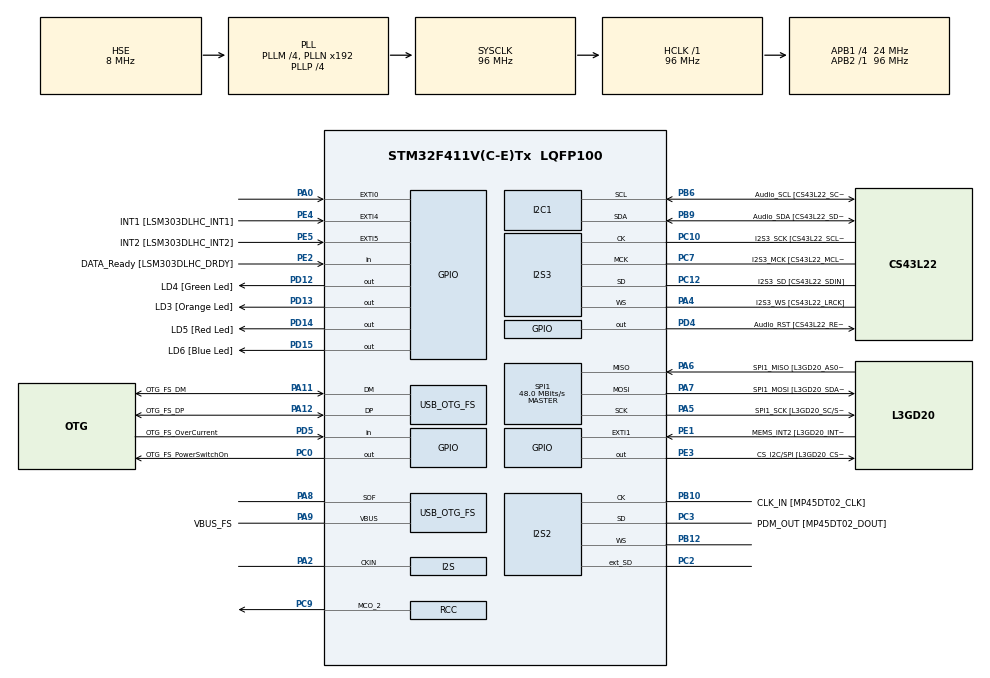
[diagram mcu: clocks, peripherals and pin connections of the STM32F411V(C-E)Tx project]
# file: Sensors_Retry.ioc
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I2S2.AudioFreq=I2S_AUDIOFREQ_96K
I2S2.ErrorAudioFreq=0.15 %
I2S2.FullDuplexMode=I2S_FULLDUPLEXMODE_ENABLE
I2S2.Instance=SPI$Index
I2S2.RealAudioFreq=96.153 KHz
I2S2.VirtualMode=I2S_MODE_MASTER
I2S3.AudioFreq=I2S_AUDIOFREQ_96K
I2S3.ErrorAudioFreq=-6.99 %
I2S3.FullDuplexMode=I2S_FULLDUPLEXMODE_DISABLE
I2S3.Instance=SPI$Index
I2S3.RealAudioFreq=89.285 KHz
I2S3.VirtualMode=I2S_MODE_MASTER
Mcu.Family=STM32F4
Mcu.Name=STM32F411V(C-E)Tx
Mcu.Package=LQFP100
NVIC.OTG_FS_IRQn=true\:0\:0\:false\:false\:true\:true\:true
NVIC.PriorityGroup=NVIC_PRIORITYGROUP_0
PA0-WKUP.GPIO_ModeDefaultEXTI=GPIO_MODE_EVT_RISING
PA0-WKUP.Signal=GPXTI0
PA10.GPIO_Label=OTG_FS_ID
PA10.Signal=USB_OTG_FS_ID
PA11.GPIO_Label=OTG_FS_DM
PA11.Mode=Device_Only
PA11.Signal=USB_OTG_FS_DM
PA12.GPIO_Label=OTG_FS_DP
PA12.Mode=Device_Only
PA12.Signal=USB_OTG_FS_DP
PA13.GPIO_Label=SWDIO
PA13.Mode=Serial_Wire
PA13.Signal=SYS_JTMS-SWDIO
PA14.GPIO_Label=SWCLK
PA14.Mode=Serial_Wire
PA14.Signal=SYS_JTCK-SWCLK
PA2.Mode=Audio_ClockIn
PA2.Signal=I2S_CKIN
PA4.GPIO_Label=I2S3_WS [CS43L22_LRCK]
PA4.GPIO_Mode=GPIO_MODE_AF_PP
PA4.GPIO_PuPd=GPIO_NOPULL
PA4.GPIO_Speed=GPIO_SPEED_FREQ_LOW
PA4.Mode=Half_Duplex_Master
PA4.Signal=I2S3_WS
PA5.GPIO_Label=SPI1_SCK [L3GD20_SC/SPC]
PA5.Mode=Full_Duplex_Master
PA5.Signal=SPI1_SCK
PA6.GPIO_Label=SPI1_MISO [L3GD20_AS0/SDO]
PA6.Mode=Full_Duplex_Master
PA6.Signal=SPI1_MISO
PA7.GPIO_Label=SPI1_MOSI [L3GD20_SDA/SDI/SDO]
PA7.Mode=Full_Duplex_Master
PA7.Signal=SPI1_MOSI
PA8.Mode=Activate_SOF_FS
PA8.Signal=USB_OTG_FS_SOF
PA9.GPIO_Label=VBUS_FS
PA9.Mode=Activate_VBUS
PA9.Signal=USB_OTG_FS_VBUS
PB10.GPIO_Label=CLK_IN [MP45DT02_CLK]
PB10.Mode=Full_Duplex_Master
PB10.Signal=I2S2_CK
PB12.Mode=Full_Duplex_Master
PB12.Signal=I2S2_WS
PB3.GPIO_Label=SWO
PB3.Signal=SYS_JTDO-SWO
PB6.GPIO_Label=Audio_SCL [CS43L22_SCL]
PB6.GPIO_Mode=GPIO_MODE_AF_OD
PB6.GPIO_PuPd=GPIO_NOPULL
PB6.GPIO_Speed=GPIO_SPEED_FREQ_LOW
PB6.Mode=I2C
PB6.Signal=I2C1_SCL
PB9.GPIO_Label=Audio_SDA [CS43L22_SDA]
PB9.GPIO_Mode=GPIO_MODE_AF_OD
PB9.GPIO_PuPd=GPIO_NOPULL
PB9.GPIO_Speed=GPIO_SPEED_FREQ_LOW
PB9.Mode=I2C
PB9.Signal=I2C1_SDA
PC0.GPIO_Label=OTG_FS_PowerSwitchOn
PC0.PinState=GPIO_PIN_SET
PC0.Signal=GPIO_Output
PC10.GPIO_Label=I2S3_SCK [CS43L22_SCLK]
PC10.GPIO_Mode=GPIO_MODE_AF_PP
PC10.GPIO_PuPd=GPIO_NOPULL
PC10.GPIO_Speed=GPIO_SPEED_FREQ_LOW
PC10.Mode=Half_Duplex_Master
PC10.Signal=I2S3_CK
PC12.GPIO_Label=I2S3_SD [CS43L22_SDIN]
PC12.GPIO_Mode=GPIO_MODE_AF_PP
PC12.GPIO_PuPd=GPIO_NOPULL
PC12.GPIO_Speed=GPIO_SPEED_FREQ_LOW
PC12.Mode=Half_Duplex_Master
PC12.Signal=I2S3_SD
PC14-OSC32_IN.GPIO_Label=PC14-OSC32_IN
PC14-OSC32_IN.Mode=LSE-External-Oscillator
PC14-OSC32_IN.Signal=RCC_OSC32_IN
PC15-OSC32_OUT.GPIO_Label=PC15-OSC32_OUT
PC15-OSC32_OUT.Mode=LSE-External-Oscillator
PC15-OSC32_OUT.Signal=RCC_OSC32_OUT
PC2.Mode=Full_Duplex_Master
PC2.Signal=I2S2_ext_SD
PC3.GPIO_Label=PDM_OUT [MP45DT02_DOUT]
PC3.Mode=Full_Duplex_Master
PC3.Signal=I2S2_SD
PC7.GPIO_Label=I2S3_MCK [CS43L22_MCLK]
PC7.GPIO_Mode=GPIO_MODE_AF_PP
PC7.GPIO_PuPd=GPIO_NOPULL
PC7.GPIO_Speed=GPIO_SPEED_FREQ_LOW
PC7.Mode=Master_Clock_Activated
PC7.Signal=I2S3_MCK
PC9.Mode=Clock-out-2
PC9.Signal=RCC_MCO_2
PD12.GPIO_Label=LD4 [Green Led]
PD12.GPIO_PuPd=GPIO_NOPULL
PD12.GPIO_Speed=GPIO_SPEED_FREQ_LOW
PD12.Signal=GPIO_Output
PD13.GPIO_Label=LD3 [Orange Led]
PD13.GPIO_PuPd=GPIO_NOPULL
PD13.GPIO_Speed=GPIO_SPEED_FREQ_LOW
PD13.Signal=GPIO_Output
PD14.GPIO_Label=LD5 [Red Led]
PD14.GPIO_PuPd=GPIO_NOPULL
PD14.GPIO_Speed=GPIO_SPEED_FREQ_LOW
PD14.Signal=GPIO_Output
PD15.GPIO_Label=LD6 [Blue Led]
PD15.GPIO_PuPd=GPIO_NOPULL
PD15.GPIO_Speed=GPIO_SPEED_FREQ_LOW
PD15.Signal=GPIO_Output
PD4.GPIO_Label=Audio_RST [CS43L22_RESET]
PD4.Signal=GPIO_Output
PD5.GPIO_Label=OTG_FS_OverCurrent
PD5.Signal=GPIO_Input
PE1.GPIO_Label=MEMS_INT2 [L3GD20_INT2]
PE1.GPIO_ModeDefaultEXTI=GPIO_MODE_EVT_RISING
PE1.Signal=GPXTI1
PE2.GPIO_Label=DATA_Ready [LSM303DLHC_DRDY]
PE2.Signal=GPIO_Input
PE3.GPIO_Label=CS_I2C/SPI [L3GD20_CS_I2C/SPI]
PE3.Signal=GPIO_Output
PE4.GPIO_Label=INT1 [LSM303DLHC_INT1]
PE4.GPIO_ModeDefaultEXTI=GPIO_MODE_EVT_RISING
PE4.Signal=GPXTI4
PE5.GPIO_Label=INT2 [LSM303DLHC_INT2]
PE5.GPIO_ModeDefaultEXTI=GPIO_MODE_EVT_RISING
PE5.Signal=GPXTI5
PH0\ -\ OSC_IN.GPIO_Label=PH0-OSC_IN
PH0\ -\ OSC_IN.Mode=HSE-External-Oscillator
PH0\ -\ OSC_IN.Signal=RCC_OSC_IN
PH1\ -\ OSC_OUT.GPIO_Label=PH1-OSC_OUT
PH1\ -\ OSC_OUT.Mode=HSE-External-Oscillator
PH1\ -\ OSC_OUT.Signal=RCC_OSC_OUT
ProjectManager.HeapSize=0x200
ProjectManager.StackSize=0x400
ProjectManager.TargetToolchain=STM32CubeIDE
RCC.48MHZClocksFreq_Value=48000000
RCC.AHBFreq_Value=96000000
RCC.APB1CLKDivider=RCC_HCLK_DIV4
RCC.APB1Freq_Value=24000000
RCC.APB1TimFreq_Value=48000000
RCC.APB2Freq_Value=96000000
RCC.APB2TimFreq_Value=96000000
RCC.CortexFreq_Value=96000000
RCC.HCLKFreq_Value=96000000
RCC.HSE_VALUE=8000000
RCC.HSI_VALUE=16000000
RCC.PLLI2SM=5
RCC.PLLI2SN=200
RCC.PLLM=4
RCC.PLLP=RCC_PLLP_DIV4
RCC.PLLQ=8
RCC.SYSCLKFreq_VALUE=96000000
RCC.SYSCLKSource=RCC_SYSCLKSOURCE_PLLCLK
RCC.VCOOutputFreq_Value=384000000
SPI1.BaudRatePrescaler=SPI_BAUDRATEPRESCALER_2
SPI1.CalculateBaudRate=48.0 MBits/s
SPI1.Direction=SPI_DIRECTION_2LINES
SPI1.Mode=SPI_MODE_MASTER
SPI1.VirtualType=VM_MASTER
USB_DEVICE.CLASS_NAME_FS=CDC
USB_DEVICE.VirtualMode=Cdc
USB_DEVICE.VirtualModeFS=Cdc_FS
USB_OTG_FS.VirtualMode=Device_Only
VP_USB_DEVICE_VS_USB_DEVICE_CDC_FS.Mode=CDC_FS
board=STM32F411E-DISCO

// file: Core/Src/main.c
/* USER CODE BEGIN Header */
/**
  ******************************************************************************
  * @file           : main.c
  * @brief          : Main program body
  ******************************************************************************
  * @attention
  *
  * <h2><center>&copy; Copyright (c) 2021 STMicroelectronics.
  * All rights reserved.</center></h2>
  *
  * This software component is licensed by ST under Ultimate Liberty license
  * SLA0044, the "License"; You may not use this file except in compliance with
  * the License. You may obtain a copy of the License at:
  *                             www.st.com/SLA0044
  *
  ******************************************************************************
  */
/* USER CODE END Header */
#include "main.h"
#include <stdio.h>
#include "usb_device.h"
#include <stdlib.h>
#include <math.h>
/* USER CODE BEGIN Includes */
#include "../../BSP/STM32F411E-Discovery/stm32f411e_discovery_gyroscope.h"
/* USER CODE END Includes */

I2C_HandleTypeDef hi2c1;

I2S_HandleTypeDef hi2s2;
I2S_HandleTypeDef hi2s3;

SPI_HandleTypeDef hspi1;

void SystemClock_Config(void);
static void MX_GPIO_Init(void);
static void MX_I2C1_Init(void);
static void MX_I2S2_Init(void);
static void MX_I2S3_Init(void);
static void MX_SPI1_Init(void);

int main(void)
{

  /* MCU Configuration--------------------------------------------------------*/

  /* Reset of all peripherals, Initializes the Flash interface and the Systick. */
  HAL_Init();

  /* Configure the system clock */
  SystemClock_Config();

  /* Initialize all configured peripherals */
  MX_GPIO_Init();
  MX_I2C1_Init();
  MX_I2S2_Init();
  MX_I2S3_Init();
  MX_SPI1_Init();
  MX_USB_DEVICE_Init();

  /* Infinite loop */
  /* USER CODE BEGIN WHILE */

  int16_t xyz[3];
  float xyz2[] = {1.0, 1.0, 1.0};
  char xyz_accelero[100];
  char xyz_gyro[100];
  char str_vector_accelero[100];
  char str_vector_gyro[100];
  char str_max_vector_accelero[100];
  char str_max_vector_gyro[100];
  float vector_accelero;
  float vector_gyro;
  BSP_ACCELERO_Init();
  BSP_GYRO_Init();

  float max_vector_accelero = 0.0;
  float max_vector_gyro = 0.0;

  while (1)
  {
    /* USER CODE END WHILE */
	BSP_ACCELERO_GetXYZ(xyz);
	BSP_GYRO_GetXYZ(xyz2);

	vector_accelero = sqrt(xyz[0]/100*xyz[0]/100+xyz[1]/100*xyz[1]/100+xyz[2]/100*xyz[2]/100);
	vector_gyro = sqrt(xyz2[0]/1000*xyz2[0]/1000+xyz2[1]/1000*xyz2[1]/1000+xyz2[2]/1000*xyz2[2]/1000);

	if(vector_accelero > max_vector_accelero) {
		max_vector_accelero = vector_accelero;
	}
	if(vector_gyro > max_vector_gyro) {
		max_vector_gyro = vector_gyro;
	}

	sprintf(xyz_accelero, "Accelerometer: %i.%02i %i.%02i %i.%02i\n", (xyz[0])/100, abs(xyz[0]-((xyz[0])/100)*100), (xyz[1])/100, abs(xyz[1]-((xyz[1])/100)*100), (xyz[2])/100, abs(xyz[2]-((xyz[2])/100)*100));
	sprintf(xyz_gyro, "Gyroscope: %f %f %f \n", xyz2[0]/1000, xyz2[1]/1000, xyz2[2]/1000);
	sprintf(str_vector_accelero, "Accelerometer Vector: |%f|\n", vector_accelero);
	sprintf(str_vector_gyro, "Gyro Vector: |%f|\n", vector_gyro);
	sprintf(str_max_vector_accelero, "Maximum Accelerometer Vector: |%f|\n\n", max_vector_accelero);
	sprintf(str_max_vector_gyro, "Maximum Gyro Vector: |%f|\n\n", max_vector_gyro);
	CDC_Transmit_FS((uint8_t*)xyz_accelero, (uint16_t)strlen(xyz_accelero));
	HAL_Delay(100);
	CDC_Transmit_FS((uint8_t*)str_vector_accelero, (uint16_t)strlen(str_vector_accelero));
	HAL_Delay(100);
	CDC_Transmit_FS((uint8_t*)str_max_vector_accelero, (uint16_t)strlen(str_max_vector_accelero));
	HAL_Delay(100);
	CDC_Transmit_FS((uint8_t*)xyz_gyro, (uint16_t)strlen(xyz_gyro));
	HAL_Delay(100);
	CDC_Transmit_FS((uint8_t*)str_vector_gyro, (uint16_t)strlen(str_vector_gyro));
	HAL_Delay(100);
	CDC_Transmit_FS((uint8_t*)str_max_vector_gyro, (uint16_t)strlen(str_max_vector_gyro));
	HAL_Delay(200);

  }
}

void SystemClock_Config(void)
{
  RCC_OscInitTypeDef RCC_OscInitStruct = {0};
  RCC_ClkInitTypeDef RCC_ClkInitStruct = {0};
  RCC_PeriphCLKInitTypeDef PeriphClkInitStruct = {0};

  /** Configure the main internal regulator output voltage
  */
  __HAL_RCC_PWR_CLK_ENABLE();
  __HAL_PWR_VOLTAGESCALING_CONFIG(PWR_REGULATOR_VOLTAGE_SCALE1);
  /** Initializes the RCC Oscillators according to the specified parameters
  * in the RCC_OscInitTypeDef structure.
  */
  RCC_OscInitStruct.OscillatorType = RCC_OSCILLATORTYPE_HSE;
  RCC_OscInitStruct.HSEState = RCC_HSE_ON;
  RCC_OscInitStruct.PLL.PLLState = RCC_PLL_ON;
  RCC_OscInitStruct.PLL.PLLSource = RCC_PLLSOURCE_HSE;
  RCC_OscInitStruct.PLL.PLLM = 4;
  RCC_OscInitStruct.PLL.PLLN = 192;
  RCC_OscInitStruct.PLL.PLLP = RCC_PLLP_DIV4;
  RCC_OscInitStruct.PLL.PLLQ = 8;
  if (HAL_RCC_OscConfig(&RCC_OscInitStruct) != HAL_OK)
  {
    Error_Handler();
  }
  /** Initializes the CPU, AHB and APB buses clocks
  */
  RCC_ClkInitStruct.ClockType = RCC_CLOCKTYPE_HCLK|RCC_CLOCKTYPE_SYSCLK
                              |RCC_CLOCKTYPE_PCLK1|RCC_CLOCKTYPE_PCLK2;
  RCC_ClkInitStruct.SYSCLKSource = RCC_SYSCLKSOURCE_PLLCLK;
  RCC_ClkInitStruct.AHBCLKDivider = RCC_SYSCLK_DIV1;
  RCC_ClkInitStruct.APB1CLKDivider = RCC_HCLK_DIV4;
  RCC_ClkInitStruct.APB2CLKDivider = RCC_HCLK_DIV1;

  if (HAL_RCC_ClockConfig(&RCC_ClkInitStruct, FLASH_LATENCY_3) != HAL_OK)
  {
    Error_Handler();
  }
  PeriphClkInitStruct.PeriphClockSelection = RCC_PERIPHCLK_I2S;
  PeriphClkInitStruct.PLLI2S.PLLI2SN = 200;
  PeriphClkInitStruct.PLLI2S.PLLI2SM = 5;
  PeriphClkInitStruct.PLLI2S.PLLI2SR = 2;
  if (HAL_RCCEx_PeriphCLKConfig(&PeriphClkInitStruct) != HAL_OK)
  {
    Error_Handler();
  }
  HAL_RCC_MCOConfig(RCC_MCO2, RCC_MCO2SOURCE_SYSCLK, RCC_MCODIV_1);
}

static void MX_I2C1_Init(void)
{

  hi2c1.Instance = I2C1;
  hi2c1.Init.ClockSpeed = 100000;
  hi2c1.Init.DutyCycle = I2C_DUTYCYCLE_2;
  hi2c1.Init.OwnAddress1 = 0;
  hi2c1.Init.AddressingMode = I2C_ADDRESSINGMODE_7BIT;
  hi2c1.Init.DualAddressMode = I2C_DUALADDRESS_DISABLE;
  hi2c1.Init.OwnAddress2 = 0;
  hi2c1.Init.GeneralCallMode = I2C_GENERALCALL_DISABLE;
  hi2c1.Init.NoStretchMode = I2C_NOSTRETCH_DISABLE;
  if (HAL_I2C_Init(&hi2c1) != HAL_OK)
  {
    Error_Handler();
  }

}

static void MX_I2S2_Init(void)
{

  hi2s2.Instance = SPI2;
  hi2s2.Init.Mode = I2S_MODE_MASTER_TX;
  hi2s2.Init.Standard = I2S_STANDARD_PHILIPS;
  hi2s2.Init.DataFormat = I2S_DATAFORMAT_16B;
  hi2s2.Init.MCLKOutput = I2S_MCLKOUTPUT_DISABLE;
  hi2s2.Init.AudioFreq = I2S_AUDIOFREQ_96K;
  hi2s2.Init.CPOL = I2S_CPOL_LOW;
  hi2s2.Init.ClockSource = I2S_CLOCK_PLL;
  hi2s2.Init.FullDuplexMode = I2S_FULLDUPLEXMODE_ENABLE;
  if (HAL_I2S_Init(&hi2s2) != HAL_OK)
  {
    Error_Handler();
  }

}

static void MX_I2S3_Init(void)
{

  hi2s3.Instance = SPI3;
  hi2s3.Init.Mode = I2S_MODE_MASTER_TX;
  hi2s3.Init.Standard = I2S_STANDARD_PHILIPS;
  hi2s3.Init.DataFormat = I2S_DATAFORMAT_16B;
  hi2s3.Init.MCLKOutput = I2S_MCLKOUTPUT_ENABLE;
  hi2s3.Init.AudioFreq = I2S_AUDIOFREQ_96K;
  hi2s3.Init.CPOL = I2S_CPOL_LOW;
  hi2s3.Init.ClockSource = I2S_CLOCK_PLL;
  hi2s3.Init.FullDuplexMode = I2S_FULLDUPLEXMODE_DISABLE;
  if (HAL_I2S_Init(&hi2s3) != HAL_OK)
  {
    Error_Handler();
  }

}

static void MX_SPI1_Init(void)
{

  /* SPI1 parameter configuration*/
  hspi1.Instance = SPI1;
  hspi1.Init.Mode = SPI_MODE_MASTER;
  hspi1.Init.Direction = SPI_DIRECTION_2LINES;
  hspi1.Init.DataSize = SPI_DATASIZE_8BIT;
  hspi1.Init.CLKPolarity = SPI_POLARITY_LOW;
  hspi1.Init.CLKPhase = SPI_PHASE_1EDGE;
  hspi1.Init.NSS = SPI_NSS_SOFT;
  hspi1.Init.BaudRatePrescaler = SPI_BAUDRATEPRESCALER_2;
  hspi1.Init.FirstBit = SPI_FIRSTBIT_MSB;
  hspi1.Init.TIMode = SPI_TIMODE_DISABLE;
  hspi1.Init.CRCCalculation = SPI_CRCCALCULATION_DISABLE;
  hspi1.Init.CRCPolynomial = 10;
  if (HAL_SPI_Init(&hspi1) != HAL_OK)
  {
    Error_Handler();
  }

}

static void MX_GPIO_Init(void)
{
  GPIO_InitTypeDef GPIO_InitStruct = {0};

  /* GPIO Ports Clock Enable */
  __HAL_RCC_GPIOE_CLK_ENABLE();
  __HAL_RCC_GPIOC_CLK_ENABLE();
  __HAL_RCC_GPIOH_CLK_ENABLE();
  __HAL_RCC_GPIOA_CLK_ENABLE();
  __HAL_RCC_GPIOB_CLK_ENABLE();
  __HAL_RCC_GPIOD_CLK_ENABLE();

  /*Configure GPIO pin Output Level */
  HAL_GPIO_WritePin(CS_I2C_SPI_GPIO_Port, CS_I2C_SPI_Pin, GPIO_PIN_RESET);

  /*Configure GPIO pin Output Level */
  HAL_GPIO_WritePin(OTG_FS_PowerSwitchOn_GPIO_Port, OTG_FS_PowerSwitchOn_Pin, GPIO_PIN_SET);

  /*Configure GPIO pin Output Level */
  HAL_GPIO_WritePin(GPIOD, LD4_Pin|LD3_Pin|LD5_Pin|LD6_Pin
                          |Audio_RST_Pin, GPIO_PIN_RESET);

  /*Configure GPIO pin : DATA_Ready_Pin */
  GPIO_InitStruct.Pin = DATA_Ready_Pin;
  GPIO_InitStruct.Mode = GPIO_MODE_INPUT;
  GPIO_InitStruct.Pull = GPIO_NOPULL;
  HAL_GPIO_Init(DATA_Ready_GPIO_Port, &GPIO_InitStruct);

  /*Configure GPIO pin : CS_I2C_SPI_Pin */
  GPIO_InitStruct.Pin = CS_I2C_SPI_Pin;
  GPIO_InitStruct.Mode = GPIO_MODE_OUTPUT_PP;
  GPIO_InitStruct.Pull = GPIO_NOPULL;
  GPIO_InitStruct.Speed = GPIO_SPEED_FREQ_LOW;
  HAL_GPIO_Init(CS_I2C_SPI_GPIO_Port, &GPIO_InitStruct);

  /*Configure GPIO pins : INT1_Pin INT2_Pin MEMS_INT2_Pin */
  GPIO_InitStruct.Pin = INT1_Pin|INT2_Pin|MEMS_INT2_Pin;
  GPIO_InitStruct.Mode = GPIO_MODE_EVT_RISING;
  GPIO_InitStruct.Pull = GPIO_NOPULL;
  HAL_GPIO_Init(GPIOE, &GPIO_InitStruct);

  /*Configure GPIO pin : OTG_FS_PowerSwitchOn_Pin */
  GPIO_InitStruct.Pin = OTG_FS_PowerSwitchOn_Pin;
  GPIO_InitStruct.Mode = GPIO_MODE_OUTPUT_PP;
  GPIO_InitStruct.Pull = GPIO_NOPULL;
  GPIO_InitStruct.Speed = GPIO_SPEED_FREQ_LOW;
  HAL_GPIO_Init(OTG_FS_PowerSwitchOn_GPIO_Port, &GPIO_InitStruct);

  /*Configure GPIO pin : PA0 */
  GPIO_InitStruct.Pin = GPIO_PIN_0;
  GPIO_InitStruct.Mode = GPIO_MODE_EVT_RISING;
  GPIO_InitStruct.Pull = GPIO_NOPULL;
  HAL_GPIO_Init(GPIOA, &GPIO_InitStruct);

  /*Configure GPIO pin : PA2 */
  GPIO_InitStruct.Pin = GPIO_PIN_2;
  GPIO_InitStruct.Mode = GPIO_MODE_AF_PP;
  GPIO_InitStruct.Pull = GPIO_NOPULL;
  GPIO_InitStruct.Speed = GPIO_SPEED_FREQ_LOW;
  GPIO_InitStruct.Alternate = GPIO_AF5_SPI1;
  HAL_GPIO_Init(GPIOA, &GPIO_InitStruct);

  /*Configure GPIO pins : LD4_Pin LD3_Pin LD5_Pin LD6_Pin
                           Audio_RST_Pin */
  GPIO_InitStruct.Pin = LD4_Pin|LD3_Pin|LD5_Pin|LD6_Pin
                          |Audio_RST_Pin;
  GPIO_InitStruct.Mode = GPIO_MODE_OUTPUT_PP;
  GPIO_InitStruct.Pull = GPIO_NOPULL;
  GPIO_InitStruct.Speed = GPIO_SPEED_FREQ_LOW;
  HAL_GPIO_Init(GPIOD, &GPIO_InitStruct);

  /*Configure GPIO pin : PC9 */
  GPIO_InitStruct.Pin = GPIO_PIN_9;
  GPIO_InitStruct.Mode = GPIO_MODE_AF_PP;
  GPIO_InitStruct.Pull = GPIO_NOPULL;
  GPIO_InitStruct.Speed = GPIO_SPEED_FREQ_LOW;
  GPIO_InitStruct.Alternate = GPIO_AF0_MCO;
  HAL_GPIO_Init(GPIOC, &GPIO_InitStruct);

  /*Configure GPIO pin : OTG_FS_OverCurrent_Pin */
  GPIO_InitStruct.Pin = OTG_FS_OverCurrent_Pin;
  GPIO_InitStruct.Mode = GPIO_MODE_INPUT;
  GPIO_InitStruct.Pull = GPIO_NOPULL;
  HAL_GPIO_Init(OTG_FS_OverCurrent_GPIO_Port, &GPIO_InitStruct);

}

void Error_Handler(void)
{
}

/************************ (C) COPYRIGHT STMicroelectronics *****END OF FILE****/
